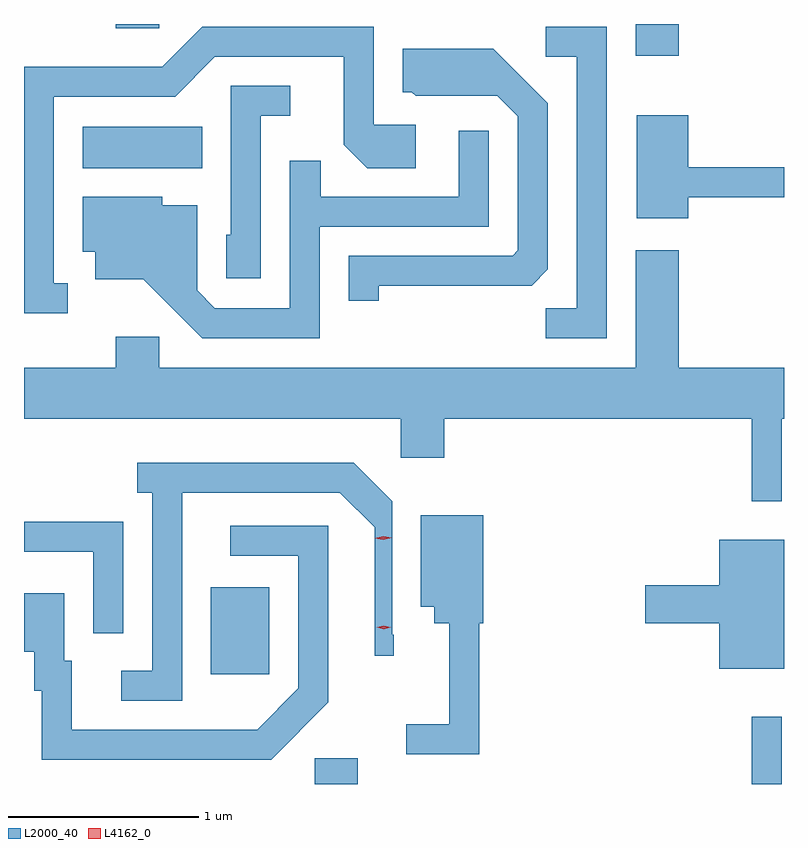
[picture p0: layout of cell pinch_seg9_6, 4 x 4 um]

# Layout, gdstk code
import gdstk
lib = gdstk.Library(unit=1e-6, precision=1e-09)
def R(c, l, rs):  # rectangles x0, y0, x1, y1
    for r in rs: c.add(gdstk.rectangle(r[:2], r[2:], *l))
def P(c, l, *ps):  # polygons
    for p in ps: c.add(gdstk.Polygon(p, *l))
L2000_40 = (2000, 40)
L4162_0 = (4162, 0)

pinch_seg9_6 = lib.new_cell('pinch_seg9_6')
R(pinch_seg9_6, L2000_40, [(1065.266,1965.474,1065.494,1965.609), (1067.566,1965.474,1067.724,1965.828), (1064.721,1966.051,1065.029,1966.509), (1064.046,1968.716,1064.674,1968.934), (1066.956,1969.306,1067.184,1969.474), (1064.221,1969.451,1064.449,1969.474)])
P(pinch_seg9_6, L2000_40, [(1066.804,1969.459),(1066.483,1969.459),(1066.483,1969.301),(1066.646,1969.301),(1066.646,1967.979),(1066.483,1967.979),(1066.483,1967.821),(1066.804,1967.821)],
  [(1063.968,1968.109),(1063.894,1968.109),(1063.894,1969.091),(1064.532,1969.091),(1064.742,1969.301),(1065.421,1969.301),(1065.421,1968.839),(1065.544,1968.716),(1065.799,1968.716),(1065.799,1968.944),(1065.579,1968.944),(1065.579,1969.459),(1064.674,1969.459),(1064.464,1969.249),(1063.737,1969.249),(1063.737,1967.951),(1063.968,1967.951)],
  [(1065.604,1968.096),(1066.409,1968.096),(1066.494,1968.182),(1066.494,1969.057),(1066.207,1969.344),(1065.731,1969.344),(1065.731,1969.116),(1065.779,1969.116),(1065.799,1969.096),(1066.229,1969.096),(1066.336,1968.989),(1066.336,1968.282),(1066.309,1968.254),(1065.446,1968.254),(1065.446,1968.018),(1065.604,1968.018)],
  [(1064.984,1968.991),(1065.138,1968.991),(1065.138,1969.149),(1064.826,1969.149),(1064.826,1968.364),(1064.801,1968.364),(1064.801,1968.136),(1064.984,1968.136)],
  [(1067.234,1968.561),(1067.737,1968.561),(1067.737,1968.719),(1067.234,1968.719),(1067.234,1968.994),(1066.961,1968.994),(1066.961,1968.451),(1067.234,1968.451)],
  [(1065.294,1968.406),(1066.184,1968.406),(1066.184,1968.913),(1066.026,1968.913),(1066.026,1968.564),(1065.299,1968.564),(1065.299,1968.753),(1065.136,1968.753),(1065.136,1967.979),(1064.742,1967.979),(1064.649,1968.072),(1064.649,1968.519),(1064.464,1968.519),(1064.464,1968.564),(1064.046,1968.564),(1064.046,1968.276),(1064.111,1968.276),(1064.111,1968.131),(1064.364,1968.131),(1064.674,1967.821),(1065.294,1967.821)],
  [(1067.724,1967.396),(1067.737,1967.396),(1067.737,1967.664),(1067.184,1967.664),(1067.184,1968.284),(1066.956,1968.284),(1066.956,1967.664),(1064.449,1967.664),(1064.449,1967.829),(1064.221,1967.829),(1064.221,1967.664),(1063.737,1967.664),(1063.737,1967.396),(1065.721,1967.396),(1065.721,1967.191),(1065.949,1967.191),(1065.949,1967.396),(1067.566,1967.396),(1067.566,1966.963),(1067.724,1966.963)],
  [(1064.569,1967.006),(1065.399,1967.006),(1065.487,1966.918),(1065.488,1966.92),(1065.583,1966.825),(1065.583,1966.148),(1065.683,1966.148),(1065.683,1966.26),(1065.674,1966.26),(1065.674,1966.962),(1065.472,1967.164),(1064.333,1967.164),(1064.333,1967.006),(1064.411,1967.006),(1064.411,1966.069),(1064.248,1966.069),(1064.248,1965.911),(1064.569,1965.911)],
  [(1066.134,1966.321),(1066.154,1966.321),(1066.154,1966.889),(1065.826,1966.889),(1065.826,1966.406),(1065.896,1966.406),(1065.896,1966.321),(1065.976,1966.321),(1065.976,1965.789),(1065.748,1965.789),(1065.748,1965.631),(1066.134,1965.631)],
  [(1064.259,1966.854),(1063.737,1966.854),(1063.737,1966.696),(1064.101,1966.696),(1064.101,1966.268),(1064.259,1966.268)],
  [(1065.339,1965.904),(1065.339,1966.834),(1064.823,1966.834),(1064.823,1966.676),(1065.181,1966.676),(1065.181,1965.977),(1064.964,1965.759),(1063.989,1965.759),(1063.989,1966.124),(1063.949,1966.124),(1063.949,1966.479),(1063.737,1966.479),(1063.737,1966.171),(1063.791,1966.171),(1063.791,1965.966),(1063.831,1965.966),(1063.831,1965.601),(1065.037,1965.601)],
  [(1067.737,1966.759),(1067.396,1966.759),(1067.396,1966.519),(1067.006,1966.519),(1067.006,1966.321),(1067.396,1966.321),(1067.396,1966.081),(1067.737,1966.081)])
P(pinch_seg9_6, L4162_0, [(1065.628,1966.76),(1065.583,1966.768),(1065.583,1966.768),(1065.583,1966.768),(1065.628,1966.779),(1065.672,1966.771),(1065.672,1966.771),(1065.672,1966.77)],
  [(1065.63,1966.288),(1065.593,1966.298),(1065.592,1966.298),(1065.593,1966.298),(1065.63,1966.308),(1065.666,1966.298),(1065.667,1966.298),(1065.666,1966.298)])

lib.write_gds('pinch_seg9_6.gds')
